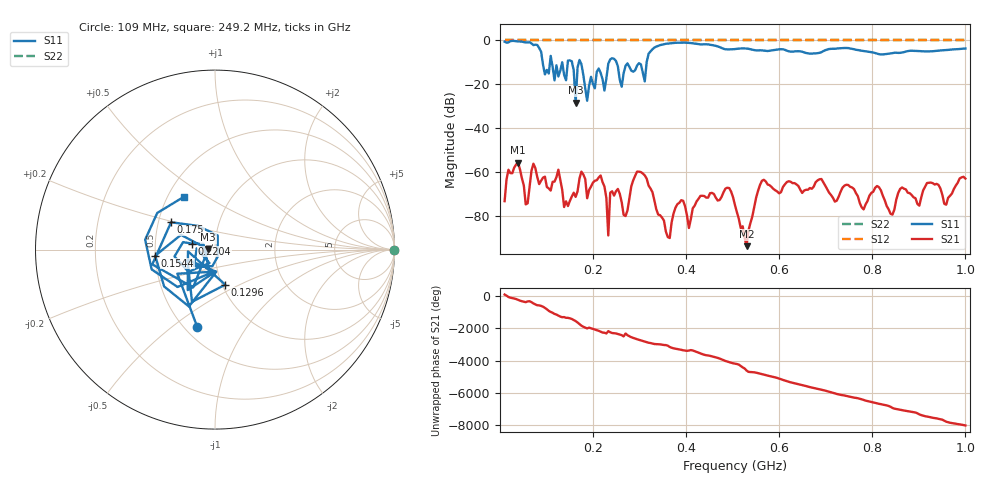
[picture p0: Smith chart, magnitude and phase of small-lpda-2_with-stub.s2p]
! Anritsu VNA Master:  Model: MS2024B
! SN:  2417009
! /card0/usr/small-lpda-2_with-stub.s2p
! Existing Calibration Information:
! TYPE:  Current Settings,  Active Cal Settings
! TIME:  09/04/2026 05:12:09 AM,  09/04/2026 04:35:19 AM
! INTERNAL TEMP:  52.8 C,  52.5 C
! # POINTS:  241,  241
! START FREQ:  10.000 MHz,  10.000 MHz
! STOP FREQ:  1.000 GHz,  1.000 GHz
! SOURCE POWER:  Default,  Default
! IFBW:  1 kHz,  1 kHz
! AVG FACTOR:  16 ,  16
! REF PLANE 1:  0 mm,  0 mm
! REF PLANE 2:  0 mm,  0 mm
! CAL TYPE:  1P2P S11,S21,  1P2P S11,S21
! CAL METHOD:  SOLT,  SOLT
! CAL LINE TYPE:  Coax,  Coax
! DUT PORT 1:  N-Conn(M),  N-Conn(M)
! DUT PORT 2:  N-Conn(M),  N-Conn(M)
! CAL STATUS:  OK: Accuracy High,  --
# GHZ S DB R 50.0
! FREQ.GHZ  S11DB  S11A  S21DB  S21A  S12DB  S12A  S22DB  S22A
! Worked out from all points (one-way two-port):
!   241 points, 10 MHz to 1 GHz, reference 50 ohm
!   highest |S21| = -55.76 dB at 38.88 MHz (marker M1); lowest = -93.9 dB at 529.8 MHz (marker M2)
!   lowest |S11| = -28.4 dB at 162.6 MHz (marker M3), VSWR 1.08, Z = 46.4 + j0.117 ohm
!   |S11| at or under -10 dB: 111.4 MHz to 133.7 MHz (22.27 MHz wide, 18.2 % of centre); 173.3 MHz to 234 MHz (60.76 MHz wide, 29.8 % of centre); 250.4 MHz to 315.2 MHz (64.81 MHz wide, 22.9 % of centre)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
!   |S22| runs from 0.0 to 0.0 dB; largest |S21 - S12| = 1
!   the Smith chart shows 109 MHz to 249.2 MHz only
!   S11 on the Smith chart (normalised r, x): 109 MHz: 0.58, -0.62; 129.6 MHz: 1.03, -0.42; 154.4 MHz: 0.50, -0.04; 175 MHz: 0.58, +0.19; 220.4 MHz: 0.77, +0.05; 249.2 MHz: 0.60, +0.40
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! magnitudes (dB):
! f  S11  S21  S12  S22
! 10 MHz  -0.5  -73.3  0.0  0.0
! 38.88 MHz  -0.5  -55.8  0.0  0.0
! 55.38 MHz  -0.9  -74.8  0.0  0.0
! 71.88 MHz  -2.1  -56.2  0.0  0.0
! 109 MHz  -7.0  -68.5  0.0  0.0
! 129.6 MHz  -13.8  -63.5  0.0  0.0
! 154.4 MHz  -9.5  -71.2  0.0  0.0
! 162.6 MHz  -28.4  -71.4  0.0  0.0
! 175 MHz  -10.8  -59.8  0.0  0.0
! 187.4 MHz  -27.5  -72.0  0.0  0.0
! 220.4 MHz  -17.6  -64.6  0.0  0.0
! 232.8 MHz  -10.6  -89.0  0.0  0.0
! 249.2 MHz  -9.3  -68.8  0.0  0.0
! 269.9 MHz  -11.6  -80.1  0.0  0.0
! 302.9 MHz  -10.9  -60.1  0.0  0.0
! 340 MHz  -2.5  -79.4  0.0  0.0
! 505 MHz  -3.9  -75.2  0.0  0.0
! 529.8 MHz  -3.7  -93.9  0.0  0.0
! 566.9 MHz  -4.6  -63.6  0.0  0.0
! 670 MHz  -6.0  -67.7  0.0  0.0
! 835 MHz  -6.1  -77.0  0.0  0.0
! 1 GHz  -3.7  -63.0  0.0  0.0
